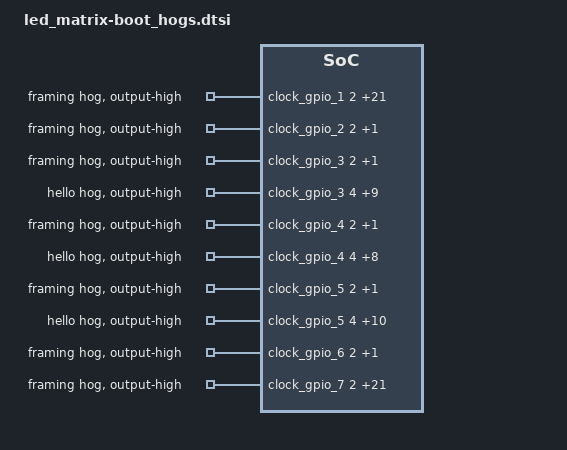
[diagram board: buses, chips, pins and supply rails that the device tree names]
/*
 * Copyright (c) 2023-2024 TiaC Systems
 * SPDX-License-Identifier: Apache-2.0
 */

&clock_gpio_1 {
	boot-hogs-framing {
		gpio-hog;
		gpios = <2 GPIO_ACTIVE_HIGH>, <3 GPIO_ACTIVE_HIGH>,
			<4 GPIO_ACTIVE_HIGH>, <5 GPIO_ACTIVE_HIGH>,
			<6 GPIO_ACTIVE_HIGH>, <7 GPIO_ACTIVE_HIGH>,
			<8 GPIO_ACTIVE_HIGH>, <9 GPIO_ACTIVE_HIGH>,
			<10 GPIO_ACTIVE_HIGH>, <11 GPIO_ACTIVE_HIGH>,
			<12 GPIO_ACTIVE_HIGH>, <13 GPIO_ACTIVE_HIGH>,
			<14 GPIO_ACTIVE_HIGH>, <15 GPIO_ACTIVE_HIGH>,
			<16 GPIO_ACTIVE_HIGH>, <17 GPIO_ACTIVE_HIGH>,
			<18 GPIO_ACTIVE_HIGH>, <19 GPIO_ACTIVE_HIGH>,
			<20 GPIO_ACTIVE_HIGH>, <21 GPIO_ACTIVE_HIGH>,
			<22 GPIO_ACTIVE_HIGH>, <23 GPIO_ACTIVE_HIGH>;
		output-high;
		line-name = "framing";
	};
};

&clock_gpio_2 {
	boot-hogs-framing {
		gpio-hog;
		gpios = <2 GPIO_ACTIVE_HIGH>, <23 GPIO_ACTIVE_HIGH>;
		output-high;
		line-name = "framing";
	};
};

&clock_gpio_3 {
	boot-hogs-framing {
		gpio-hog;
		gpios = <2 GPIO_ACTIVE_HIGH>, <23 GPIO_ACTIVE_HIGH>;
		output-high;
		line-name = "framing";
	};
	boot-hogs-hello {
		gpio-hog;
		gpios = <4 GPIO_ACTIVE_HIGH>, <6 GPIO_ACTIVE_HIGH>,
			<8 GPIO_ACTIVE_HIGH>, <11 GPIO_ACTIVE_HIGH>,
			<13 GPIO_ACTIVE_HIGH>, <15 GPIO_ACTIVE_HIGH>,
			<16 GPIO_ACTIVE_HIGH>, <17 GPIO_ACTIVE_HIGH>,
			<19 GPIO_ACTIVE_HIGH>, <21 GPIO_ACTIVE_HIGH>;
		output-high;
		line-name = "hello";
	};
};

&clock_gpio_4 {
	boot-hogs-framing {
		gpio-hog;
		gpios = <2 GPIO_ACTIVE_HIGH>, <23 GPIO_ACTIVE_HIGH>;
		output-high;
		line-name = "framing";
	};
	boot-hogs-hello {
		gpio-hog;
		gpios = <4 GPIO_ACTIVE_HIGH>, <5 GPIO_ACTIVE_HIGH>,
			<6 GPIO_ACTIVE_HIGH>, <8 GPIO_ACTIVE_HIGH>,
			<12 GPIO_ACTIVE_HIGH>, <15 GPIO_ACTIVE_HIGH>,
			<17 GPIO_ACTIVE_HIGH>, <19 GPIO_ACTIVE_HIGH>,
			<21 GPIO_ACTIVE_HIGH>;
		output-high;
		line-name = "hello";
	};
};

&clock_gpio_5 {
	boot-hogs-framing {
		gpio-hog;
		gpios = <2 GPIO_ACTIVE_HIGH>, <23 GPIO_ACTIVE_HIGH>;
		output-high;
		line-name = "framing";
	};
	boot-hogs-hello {
		gpio-hog;
		gpios = <4 GPIO_ACTIVE_HIGH>, <6 GPIO_ACTIVE_HIGH>,
			<8 GPIO_ACTIVE_HIGH>, <12 GPIO_ACTIVE_HIGH>,
			<8 GPIO_ACTIVE_HIGH>, <15 GPIO_ACTIVE_HIGH>,
			<16 GPIO_ACTIVE_HIGH>, <17 GPIO_ACTIVE_HIGH>,
			<19 GPIO_ACTIVE_HIGH>, <20 GPIO_ACTIVE_HIGH>,
			<21 GPIO_ACTIVE_HIGH>;
		output-high;
		line-name = "hello";
	};
};

&clock_gpio_6 {
	boot-hogs-framing {
		gpio-hog;
		gpios = <2 GPIO_ACTIVE_HIGH>, <23 GPIO_ACTIVE_HIGH>;
		output-high;
		line-name = "framing";
	};
};

&clock_gpio_7 {
	boot-hogs-framing {
		gpio-hog;
		gpios = <2 GPIO_ACTIVE_HIGH>, <3 GPIO_ACTIVE_HIGH>,
			<4 GPIO_ACTIVE_HIGH>, <5 GPIO_ACTIVE_HIGH>,
			<6 GPIO_ACTIVE_HIGH>, <7 GPIO_ACTIVE_HIGH>,
			<8 GPIO_ACTIVE_HIGH>, <9 GPIO_ACTIVE_HIGH>,
			<10 GPIO_ACTIVE_HIGH>, <11 GPIO_ACTIVE_HIGH>,
			<12 GPIO_ACTIVE_HIGH>, <13 GPIO_ACTIVE_HIGH>,
			<14 GPIO_ACTIVE_HIGH>, <15 GPIO_ACTIVE_HIGH>,
			<16 GPIO_ACTIVE_HIGH>, <17 GPIO_ACTIVE_HIGH>,
			<18 GPIO_ACTIVE_HIGH>, <19 GPIO_ACTIVE_HIGH>,
			<20 GPIO_ACTIVE_HIGH>, <21 GPIO_ACTIVE_HIGH>,
			<22 GPIO_ACTIVE_HIGH>, <23 GPIO_ACTIVE_HIGH>;
		output-high;
		line-name = "framing";
	};
};
